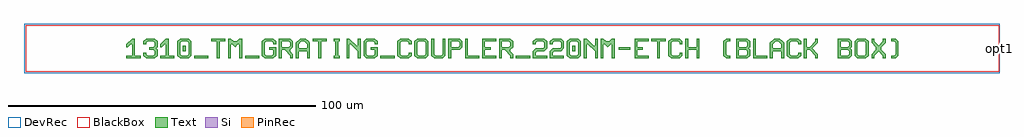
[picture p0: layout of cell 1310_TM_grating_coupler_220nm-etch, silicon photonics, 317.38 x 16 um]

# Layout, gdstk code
import gdstk
lib = gdstk.Library(unit=1e-6, precision=1e-09)
def R(c, l, rs):  # rectangles x0, y0, x1, y1
    for r in rs: c.add(gdstk.rectangle(r[:2], r[2:], *l))
def A(c, l, x, y, w, h, nx, ny, dx, dy):  # array of equal rectangles
    R(c, l, [(x+i*dx, y+j*dy, x+i*dx+w, y+j*dy+h) for i in range(nx) for j in range(ny)])
def P(c, l, *ps):  # polygons
    for p in ps: c.add(gdstk.Polygon(p, *l))
Si = (1, 0)
PinRec = (1, 10)
Text = (10, 0)
DevRec = (68, 0)
BlackBox = (998, 0)

text = lib.new_cell('TEXT')
A(text, Text, 38.549, 0, 4.589, 0.918, 3, 1, 44.056, 0)
R(text, Text, [(22.028,0,26.617,0.918), (18.357,2.295,19.275,4.131), (145.018,2.295,145.936,4.131), (160.162,2.754,163.834,3.672)])
P(text, Text, [(0,0),(0,0.918),(1.836,0.918),(1.836,4.589),(1.377,4.589),(0.459,3.672),(0,3.672),(0,4.589),(1.836,6.425),(2.754,6.425),(2.754,0.918),(4.589,0.918),(4.589,0)],
  [(6.425,0),(5.507,0.918),(5.507,1.836),(6.425,1.836),(6.425,1.377),(6.884,0.918),(8.72,0.918),(9.179,1.377),(9.179,2.295),(8.72,2.754),(7.343,2.754),(7.343,3.672),(8.72,3.672),(9.179,4.131),(9.179,5.048),(8.72,5.507),(6.884,5.507),(6.425,5.048),(6.425,4.589),(5.507,4.589),(5.507,5.507),(6.425,6.425),(9.179,6.425),(10.096,5.507),(10.096,3.672),(9.638,3.213),(10.096,2.754),(10.096,0.918),(9.179,0)],
  [(11.014,0),(11.014,0.918),(12.85,0.918),(12.85,4.589),(12.391,4.589),(11.473,3.672),(11.014,3.672),(11.014,4.589),(12.85,6.425),(13.768,6.425),(13.768,0.918),(15.603,0.918),(15.603,0)],
  [(17.439,0),(16.521,0.918),(16.521,5.507),(17.439,6.425),(20.193,6.425),(21.11,5.507),(17.898,5.507),(17.439,5.048),(17.439,1.377),(17.898,0.918),(19.734,0.918),(20.193,1.377),(20.193,5.048),(19.734,5.507),(21.11,5.507),(21.11,0.918),(20.193,0)],
  [(29.371,0),(29.371,5.507),(27.535,5.507),(27.535,6.425),(32.124,6.425),(32.124,5.507),(30.289,5.507),(30.289,0)],
  [(33.042,0),(33.042,6.425),(33.96,6.425),(34.878,5.507),(35.796,5.507),(36.714,6.425),(37.631,6.425),(37.631,0),(36.714,0),(36.714,4.589),(36.255,4.589),(35.337,3.672),(34.419,4.589),(33.96,4.589),(33.96,0)],
  [(44.974,0),(44.056,0.918),(44.056,5.507),(44.974,6.425),(47.728,6.425),(48.645,5.507),(48.645,4.589),(47.728,4.589),(47.728,5.048),(47.269,5.507),(45.433,5.507),(44.974,5.048),(44.974,1.377),(45.433,0.918),(47.269,0.918),(47.728,1.377),(47.728,2.754),(46.351,2.754),(46.351,3.672),(48.645,3.672),(48.645,0.918),(47.728,0)],
  [(49.563,0),(49.563,6.425),(53.235,6.425),(54.152,5.507),(50.481,5.507),(50.481,3.672),(52.776,3.672),(53.235,4.131),(53.235,5.048),(52.776,5.507),(54.152,5.507),(54.152,3.672),(53.235,2.754),(53.235,2.295),(54.152,1.377),(54.152,0),(53.235,0),(53.235,0.918),(51.399,2.754),(50.481,2.754),(50.481,0)],
  [(55.07,0),(55.07,5.048),(56.447,6.425),(58.283,6.425),(59.201,5.507),(56.906,5.507),(55.988,4.589),(55.988,3.213),(58.742,3.213),(58.742,4.589),(57.824,5.507),(59.201,5.507),(59.659,5.048),(59.659,0),(58.742,0),(58.742,2.295),(55.988,2.295),(55.988,0)],
  [(62.413,0),(62.413,5.507),(60.577,5.507),(60.577,6.425),(65.166,6.425),(65.166,5.507),(63.331,5.507),(63.331,0)],
  [(67.461,0),(67.461,0.918),(67.92,0.918),(67.92,5.507),(67.461,5.507),(67.461,6.425),(69.297,6.425),(69.297,5.507),(68.838,5.507),(68.838,0.918),(69.297,0.918),(69.297,0)],
  [(71.591,0),(71.591,6.425),(72.509,6.425),(74.804,4.131),(75.263,4.131),(75.263,6.425),(76.18,6.425),(76.18,0),(75.263,0),(75.263,2.295),(72.968,4.589),(72.509,4.589),(72.509,0)],
  [(78.016,0),(77.098,0.918),(77.098,5.507),(78.016,6.425),(80.77,6.425),(81.687,5.507),(81.687,4.589),(80.77,4.589),(80.77,5.048),(80.311,5.507),(78.475,5.507),(78.016,5.048),(78.016,1.377),(78.475,0.918),(80.311,0.918),(80.77,1.377),(80.77,2.754),(79.393,2.754),(79.393,3.672),(81.687,3.672),(81.687,0.918),(80.77,0)],
  [(89.03,0),(88.112,0.918),(88.112,5.507),(89.03,6.425),(91.784,6.425),(92.701,5.507),(92.701,4.589),(91.784,4.589),(91.784,5.048),(91.325,5.507),(89.489,5.507),(89.03,5.048),(89.03,1.377),(89.489,0.918),(91.325,0.918),(91.784,1.377),(91.784,1.836),(92.701,1.836),(92.701,0.918),(91.784,0)],
  [(94.537,0),(93.619,0.918),(93.619,5.507),(94.537,6.425),(97.291,6.425),(98.208,5.507),(98.208,3.213),(97.291,3.213),(97.291,5.048),(96.832,5.507),(94.996,5.507),(94.537,5.048),(94.537,1.377),(94.996,0.918),(96.832,0.918),(97.291,1.377),(97.291,3.213),(98.208,3.213),(98.208,0.918),(97.291,0)],
  [(100.044,0),(99.126,0.918),(99.126,6.425),(100.044,6.425),(100.044,1.377),(100.503,0.918),(102.339,0.918),(102.798,1.377),(102.798,6.425),(103.715,6.425),(103.715,0.918),(102.798,0)],
  [(104.633,0),(104.633,6.425),(108.305,6.425),(109.222,5.507),(109.222,3.672),(108.305,2.754),(105.551,2.754),(105.551,3.672),(107.846,3.672),(108.305,4.131),(108.305,5.048),(107.846,5.507),(105.551,5.507),(105.551,0)],
  [(110.14,0),(110.14,6.425),(111.058,6.425),(111.058,0.918),(114.729,0.918),(114.729,0)],
  [(115.647,0),(115.647,6.425),(120.236,6.425),(120.236,5.507),(116.565,5.507),(116.565,3.672),(118.401,3.672),(118.401,2.754),(116.565,2.754),(116.565,0.918),(120.236,0.918),(120.236,0)],
  [(121.154,0),(121.154,6.425),(124.826,6.425),(125.743,5.507),(122.072,5.507),(122.072,3.672),(124.367,3.672),(124.826,4.131),(124.826,5.048),(124.367,5.507),(125.743,5.507),(125.743,3.672),(124.826,2.754),(124.826,2.295),(125.743,1.377),(125.743,0),(124.826,0),(124.826,0.918),(122.99,2.754),(122.072,2.754),(122.072,0)],
  [(132.168,0),(132.168,2.295),(133.086,3.213),(135.381,3.213),(135.84,3.672),(135.84,5.048),(135.381,5.507),(133.545,5.507),(133.086,5.048),(133.086,4.589),(132.168,4.589),(132.168,5.507),(133.086,6.425),(135.84,6.425),(136.757,5.507),(136.757,3.213),(135.84,2.295),(133.545,2.295),(133.086,1.836),(133.086,0.918),(136.757,0.918),(136.757,0)],
  [(137.675,0),(137.675,2.295),(138.593,3.213),(140.888,3.213),(141.347,3.672),(141.347,5.048),(140.888,5.507),(139.052,5.507),(138.593,5.048),(138.593,4.589),(137.675,4.589),(137.675,5.507),(138.593,6.425),(141.347,6.425),(142.264,5.507),(142.264,3.213),(141.347,2.295),(139.052,2.295),(138.593,1.836),(138.593,0.918),(142.264,0.918),(142.264,0)],
  [(144.1,0),(143.182,0.918),(143.182,5.507),(144.1,6.425),(146.854,6.425),(147.771,5.507),(144.559,5.507),(144.1,5.048),(144.1,1.377),(144.559,0.918),(146.395,0.918),(146.854,1.377),(146.854,5.048),(146.395,5.507),(147.771,5.507),(147.771,0.918),(146.854,0)],
  [(148.689,0),(148.689,6.425),(149.607,6.425),(151.902,4.131),(152.361,4.131),(152.361,6.425),(153.278,6.425),(153.278,0),(152.361,0),(152.361,2.295),(150.066,4.589),(149.607,4.589),(149.607,0)],
  [(154.196,0),(154.196,6.425),(155.114,6.425),(156.032,5.507),(156.95,5.507),(157.868,6.425),(158.785,6.425),(158.785,0),(157.868,0),(157.868,4.589),(157.409,4.589),(156.491,3.672),(155.573,4.589),(155.114,4.589),(155.114,0)],
  [(165.21,0),(165.21,6.425),(169.799,6.425),(169.799,5.507),(166.128,5.507),(166.128,3.672),(167.964,3.672),(167.964,2.754),(166.128,2.754),(166.128,0.918),(169.799,0.918),(169.799,0)],
  [(172.553,0),(172.553,5.507),(170.717,5.507),(170.717,6.425),(175.306,6.425),(175.306,5.507),(173.471,5.507),(173.471,0)],
  [(177.142,0),(176.224,0.918),(176.224,5.507),(177.142,6.425),(179.896,6.425),(180.813,5.507),(180.813,4.589),(179.896,4.589),(179.896,5.048),(179.437,5.507),(177.601,5.507),(177.142,5.048),(177.142,1.377),(177.601,0.918),(179.437,0.918),(179.896,1.377),(179.896,1.836),(180.813,1.836),(180.813,0.918),(179.896,0)],
  [(181.731,0),(181.731,6.425),(182.649,6.425),(182.649,3.672),(185.403,3.672),(185.403,6.425),(186.32,6.425),(186.32,0),(185.403,0),(185.403,2.754),(182.649,2.754),(182.649,0)],
  [(195.04,0),(194.122,0.918),(194.122,5.507),(195.04,6.425),(196.417,6.425),(196.417,5.507),(195.499,5.507),(195.04,5.048),(195.04,1.377),(195.499,0.918),(196.417,0.918),(196.417,0)],
  [(198.252,0),(198.252,6.425),(201.924,6.425),(202.841,5.507),(199.17,5.507),(199.17,3.672),(201.465,3.672),(201.924,4.131),(201.924,5.048),(201.465,5.507),(202.841,5.507),(202.841,3.672),(202.383,3.213),(202.841,2.754),(199.17,2.754),(199.17,0.918),(201.465,0.918),(201.924,1.377),(201.924,2.295),(201.465,2.754),(202.841,2.754),(202.841,0.918),(201.924,0)],
  [(203.759,0),(203.759,6.425),(204.677,6.425),(204.677,0.918),(208.348,0.918),(208.348,0)],
  [(209.266,0),(209.266,5.048),(210.643,6.425),(212.479,6.425),(213.397,5.507),(211.102,5.507),(210.184,4.589),(210.184,3.213),(212.938,3.213),(212.938,4.589),(212.02,5.507),(213.397,5.507),(213.855,5.048),(213.855,0),(212.938,0),(212.938,2.295),(210.184,2.295),(210.184,0)],
  [(215.691,0),(214.773,0.918),(214.773,5.507),(215.691,6.425),(218.445,6.425),(219.362,5.507),(219.362,4.589),(218.445,4.589),(218.445,5.048),(217.986,5.507),(216.15,5.507),(215.691,5.048),(215.691,1.377),(216.15,0.918),(217.986,0.918),(218.445,1.377),(218.445,1.836),(219.362,1.836),(219.362,0.918),(218.445,0)],
  [(220.28,0),(220.28,6.425),(221.198,6.425),(221.198,3.672),(222.116,3.672),(223.952,5.507),(223.952,6.425),(224.869,6.425),(224.869,5.048),(223.034,3.213),(224.869,1.377),(224.869,0),(223.952,0),(223.952,0.918),(222.116,2.754),(221.198,2.754),(221.198,0)],
  [(231.294,0),(231.294,6.425),(234.966,6.425),(235.883,5.507),(232.212,5.507),(232.212,3.672),(234.507,3.672),(234.966,4.131),(234.966,5.048),(234.507,5.507),(235.883,5.507),(235.883,3.672),(235.425,3.213),(235.883,2.754),(232.212,2.754),(232.212,0.918),(234.507,0.918),(234.966,1.377),(234.966,2.295),(234.507,2.754),(235.883,2.754),(235.883,0.918),(234.966,0)],
  [(237.719,0),(236.801,0.918),(236.801,5.507),(237.719,6.425),(240.473,6.425),(241.39,5.507),(241.39,3.213),(240.473,3.213),(240.473,5.048),(240.014,5.507),(238.178,5.507),(237.719,5.048),(237.719,1.377),(238.178,0.918),(240.014,0.918),(240.473,1.377),(240.473,3.213),(241.39,3.213),(241.39,0.918),(240.473,0)],
  [(242.308,0),(242.308,1.377),(243.685,2.754),(243.685,3.672),(242.308,5.048),(242.308,6.425),(243.226,6.425),(243.226,5.507),(244.603,4.131),(245.98,5.507),(245.98,6.425),(246.897,6.425),(246.897,5.048),(245.521,3.672),(245.521,2.754),(246.897,1.377),(246.897,0),(245.98,0),(245.98,0.918),(244.603,2.295),(243.226,0.918),(243.226,0)],
  [(248.733,0),(248.733,0.918),(249.651,0.918),(250.11,1.377),(250.11,5.048),(249.651,5.507),(248.733,5.507),(248.733,6.425),(250.11,6.425),(251.028,5.507),(251.028,0.918),(250.11,0)])

c_1310_tm_grating_coupler_ = lib.new_cell('1310_TM_grating_coupler_220nm-etch')
R(c_1310_tm_grating_coupler_, Si, [(13.583,67.545,13.783,67.895)])
R(c_1310_tm_grating_coupler_, DevRec, [(-303.589,59.72,13.783,75.72)])
R(c_1310_tm_grating_coupler_, BlackBox, [(-303.089,60.22,13.583,75.22)])
c_1310_tm_grating_coupler_.add(gdstk.FlexPath([(13.773,67.72),(13.793,67.72)], 0.35, ends="flush", simple_path=True, layer=1, datatype=10))  # PinRec
c_1310_tm_grating_coupler_.add(gdstk.Reference(text, (-270.267,64.508)))
c_1310_tm_grating_coupler_.add(gdstk.Label('opt1', (13.783,67.72), layer=1, texttype=10))

lib.write_gds('1310_TM_grating_coupler_220nm-etch.gds')
